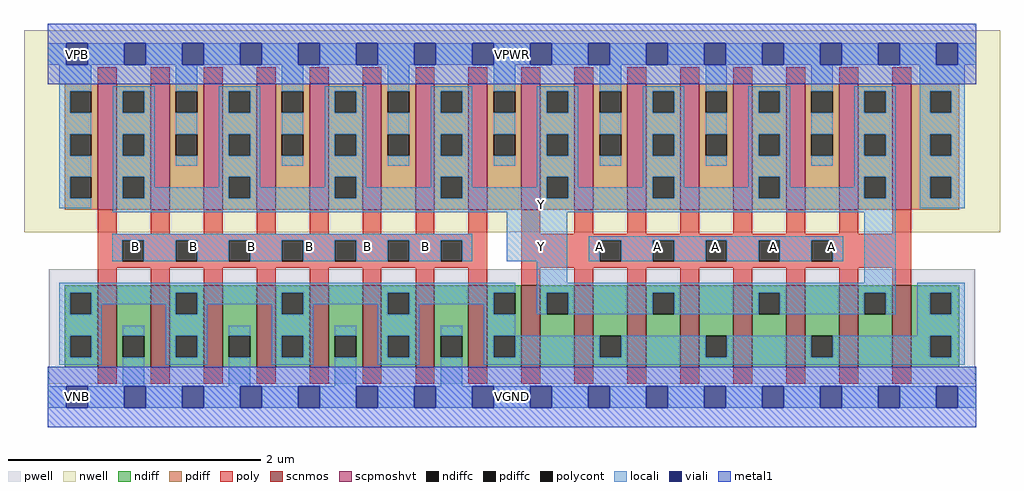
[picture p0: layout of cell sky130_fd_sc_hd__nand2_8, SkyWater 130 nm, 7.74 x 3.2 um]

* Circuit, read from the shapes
.subckt sky130_fd_sc_hd__nand2_8 A B VGND VNB VPB VPWR Y
XM1 VGND B n1 VNB sky130_fd_pr__nfet_01v8 w=0.65 l=0.15 m=8
XM2 Y A n1 VNB sky130_fd_pr__nfet_01v8 w=0.65 l=0.15 m=8
XM3 Y B VPWR VPB sky130_fd_pr__pfet_01v8_hvt w=1 l=0.15 m=8
XM4 Y A VPWR VPB sky130_fd_pr__pfet_01v8_hvt w=1 l=0.15 m=8
.ends

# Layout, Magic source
magic
tech sky130A
magscale 1 2
<< nwell >>
rect -38 261 1510 582
<< pwell >>
rect 1 21 1471 203
rect 30 -17 64 21
<< scnmos >>
rect 79 47 109 177
rect 163 47 193 177
rect 247 47 277 177
rect 331 47 361 177
rect 415 47 445 177
rect 499 47 529 177
rect 583 47 613 177
rect 667 47 697 177
rect 751 47 781 177
rect 835 47 865 177
rect 919 47 949 177
rect 1003 47 1033 177
rect 1087 47 1117 177
rect 1171 47 1201 177
rect 1255 47 1285 177
rect 1339 47 1369 177
<< scpmoshvt >>
rect 79 297 109 497
rect 163 297 193 497
rect 247 297 277 497
rect 331 297 361 497
rect 415 297 445 497
rect 499 297 529 497
rect 583 297 613 497
rect 667 297 697 497
rect 751 297 781 497
rect 835 297 865 497
rect 919 297 949 497
rect 1003 297 1033 497
rect 1087 297 1117 497
rect 1171 297 1201 497
rect 1255 297 1285 497
rect 1339 297 1369 497
<< ndiff >>
rect 27 165 79 177
rect 27 131 35 165
rect 69 131 79 165
rect 27 97 79 131
rect 27 63 35 97
rect 69 63 79 97
rect 27 47 79 63
rect 109 97 163 177
rect 109 63 119 97
rect 153 63 163 97
rect 109 47 163 63
rect 193 165 247 177
rect 193 131 203 165
rect 237 131 247 165
rect 193 97 247 131
rect 193 63 203 97
rect 237 63 247 97
rect 193 47 247 63
rect 277 97 331 177
rect 277 63 287 97
rect 321 63 331 97
rect 277 47 331 63
rect 361 165 415 177
rect 361 131 371 165
rect 405 131 415 165
rect 361 97 415 131
rect 361 63 371 97
rect 405 63 415 97
rect 361 47 415 63
rect 445 97 499 177
rect 445 63 455 97
rect 489 63 499 97
rect 445 47 499 63
rect 529 165 583 177
rect 529 131 539 165
rect 573 131 583 165
rect 529 97 583 131
rect 529 63 539 97
rect 573 63 583 97
rect 529 47 583 63
rect 613 97 667 177
rect 613 63 623 97
rect 657 63 667 97
rect 613 47 667 63
rect 697 165 751 177
rect 697 131 707 165
rect 741 131 751 165
rect 697 97 751 131
rect 697 63 707 97
rect 741 63 751 97
rect 697 47 751 63
rect 781 165 835 177
rect 781 131 791 165
rect 825 131 835 165
rect 781 47 835 131
rect 865 97 919 177
rect 865 63 875 97
rect 909 63 919 97
rect 865 47 919 63
rect 949 165 1003 177
rect 949 131 959 165
rect 993 131 1003 165
rect 949 47 1003 131
rect 1033 97 1087 177
rect 1033 63 1043 97
rect 1077 63 1087 97
rect 1033 47 1087 63
rect 1117 165 1171 177
rect 1117 131 1127 165
rect 1161 131 1171 165
rect 1117 47 1171 131
rect 1201 97 1255 177
rect 1201 63 1211 97
rect 1245 63 1255 97
rect 1201 47 1255 63
rect 1285 165 1339 177
rect 1285 131 1295 165
rect 1329 131 1339 165
rect 1285 47 1339 131
rect 1369 165 1445 177
rect 1369 131 1399 165
rect 1433 131 1445 165
rect 1369 97 1445 131
rect 1369 63 1399 97
rect 1433 63 1445 97
rect 1369 47 1445 63
<< pdiff >>
rect 27 485 79 497
rect 27 451 35 485
rect 69 451 79 485
rect 27 417 79 451
rect 27 383 35 417
rect 69 383 79 417
rect 27 349 79 383
rect 27 315 35 349
rect 69 315 79 349
rect 27 297 79 315
rect 109 485 163 497
rect 109 451 119 485
rect 153 451 163 485
rect 109 417 163 451
rect 109 383 119 417
rect 153 383 163 417
rect 109 349 163 383
rect 109 315 119 349
rect 153 315 163 349
rect 109 297 163 315
rect 193 485 247 497
rect 193 451 203 485
rect 237 451 247 485
rect 193 417 247 451
rect 193 383 203 417
rect 237 383 247 417
rect 193 297 247 383
rect 277 485 331 497
rect 277 451 287 485
rect 321 451 331 485
rect 277 417 331 451
rect 277 383 287 417
rect 321 383 331 417
rect 277 349 331 383
rect 277 315 287 349
rect 321 315 331 349
rect 277 297 331 315
rect 361 485 415 497
rect 361 451 371 485
rect 405 451 415 485
rect 361 417 415 451
rect 361 383 371 417
rect 405 383 415 417
rect 361 297 415 383
rect 445 485 499 497
rect 445 451 455 485
rect 489 451 499 485
rect 445 417 499 451
rect 445 383 455 417
rect 489 383 499 417
rect 445 349 499 383
rect 445 315 455 349
rect 489 315 499 349
rect 445 297 499 315
rect 529 485 583 497
rect 529 451 539 485
rect 573 451 583 485
rect 529 417 583 451
rect 529 383 539 417
rect 573 383 583 417
rect 529 297 583 383
rect 613 485 667 497
rect 613 451 623 485
rect 657 451 667 485
rect 613 417 667 451
rect 613 383 623 417
rect 657 383 667 417
rect 613 349 667 383
rect 613 315 623 349
rect 657 315 667 349
rect 613 297 667 315
rect 697 485 751 497
rect 697 451 707 485
rect 741 451 751 485
rect 697 417 751 451
rect 697 383 707 417
rect 741 383 751 417
rect 697 297 751 383
rect 781 485 835 497
rect 781 451 791 485
rect 825 451 835 485
rect 781 417 835 451
rect 781 383 791 417
rect 825 383 835 417
rect 781 349 835 383
rect 781 315 791 349
rect 825 315 835 349
rect 781 297 835 315
rect 865 485 919 497
rect 865 451 875 485
rect 909 451 919 485
rect 865 417 919 451
rect 865 383 875 417
rect 909 383 919 417
rect 865 297 919 383
rect 949 485 1003 497
rect 949 451 959 485
rect 993 451 1003 485
rect 949 417 1003 451
rect 949 383 959 417
rect 993 383 1003 417
rect 949 349 1003 383
rect 949 315 959 349
rect 993 315 1003 349
rect 949 297 1003 315
rect 1033 485 1087 497
rect 1033 451 1043 485
rect 1077 451 1087 485
rect 1033 417 1087 451
rect 1033 383 1043 417
rect 1077 383 1087 417
rect 1033 297 1087 383
rect 1117 485 1171 497
rect 1117 451 1127 485
rect 1161 451 1171 485
rect 1117 417 1171 451
rect 1117 383 1127 417
rect 1161 383 1171 417
rect 1117 349 1171 383
rect 1117 315 1127 349
rect 1161 315 1171 349
rect 1117 297 1171 315
rect 1201 485 1255 497
rect 1201 451 1211 485
rect 1245 451 1255 485
rect 1201 417 1255 451
rect 1201 383 1211 417
rect 1245 383 1255 417
rect 1201 297 1255 383
rect 1285 485 1339 497
rect 1285 451 1295 485
rect 1329 451 1339 485
rect 1285 417 1339 451
rect 1285 383 1295 417
rect 1329 383 1339 417
rect 1285 349 1339 383
rect 1285 315 1295 349
rect 1329 315 1339 349
rect 1285 297 1339 315
rect 1369 485 1445 497
rect 1369 451 1399 485
rect 1433 451 1445 485
rect 1369 417 1445 451
rect 1369 383 1399 417
rect 1433 383 1445 417
rect 1369 349 1445 383
rect 1369 315 1399 349
rect 1433 315 1445 349
rect 1369 297 1445 315
<< ndiffc >>
rect 35 131 69 165
rect 35 63 69 97
rect 119 63 153 97
rect 203 131 237 165
rect 203 63 237 97
rect 287 63 321 97
rect 371 131 405 165
rect 371 63 405 97
rect 455 63 489 97
rect 539 131 573 165
rect 539 63 573 97
rect 623 63 657 97
rect 707 131 741 165
rect 707 63 741 97
rect 791 131 825 165
rect 875 63 909 97
rect 959 131 993 165
rect 1043 63 1077 97
rect 1127 131 1161 165
rect 1211 63 1245 97
rect 1295 131 1329 165
rect 1399 131 1433 165
rect 1399 63 1433 97
<< pdiffc >>
rect 35 451 69 485
rect 35 383 69 417
rect 35 315 69 349
rect 119 451 153 485
rect 119 383 153 417
rect 119 315 153 349
rect 203 451 237 485
rect 203 383 237 417
rect 287 451 321 485
rect 287 383 321 417
rect 287 315 321 349
rect 371 451 405 485
rect 371 383 405 417
rect 455 451 489 485
rect 455 383 489 417
rect 455 315 489 349
rect 539 451 573 485
rect 539 383 573 417
rect 623 451 657 485
rect 623 383 657 417
rect 623 315 657 349
rect 707 451 741 485
rect 707 383 741 417
rect 791 451 825 485
rect 791 383 825 417
rect 791 315 825 349
rect 875 451 909 485
rect 875 383 909 417
rect 959 451 993 485
rect 959 383 993 417
rect 959 315 993 349
rect 1043 451 1077 485
rect 1043 383 1077 417
rect 1127 451 1161 485
rect 1127 383 1161 417
rect 1127 315 1161 349
rect 1211 451 1245 485
rect 1211 383 1245 417
rect 1295 451 1329 485
rect 1295 383 1329 417
rect 1295 315 1329 349
rect 1399 451 1433 485
rect 1399 383 1433 417
rect 1399 315 1433 349
<< poly >>
rect 79 497 109 523
rect 163 497 193 523
rect 247 497 277 523
rect 331 497 361 523
rect 415 497 445 523
rect 499 497 529 523
rect 583 497 613 523
rect 667 497 697 523
rect 751 497 781 523
rect 835 497 865 523
rect 919 497 949 523
rect 1003 497 1033 523
rect 1087 497 1117 523
rect 1171 497 1201 523
rect 1255 497 1285 523
rect 1339 497 1369 523
rect 79 259 109 297
rect 163 259 193 297
rect 247 259 277 297
rect 331 259 361 297
rect 415 259 445 297
rect 499 259 529 297
rect 583 259 613 297
rect 667 259 697 297
rect 79 249 697 259
rect 79 215 118 249
rect 152 215 203 249
rect 237 215 287 249
rect 321 215 371 249
rect 405 215 455 249
rect 489 215 539 249
rect 573 215 623 249
rect 657 215 697 249
rect 79 205 697 215
rect 79 177 109 205
rect 163 177 193 205
rect 247 177 277 205
rect 331 177 361 205
rect 415 177 445 205
rect 499 177 529 205
rect 583 177 613 205
rect 667 177 697 205
rect 751 259 781 297
rect 835 259 865 297
rect 919 259 949 297
rect 1003 259 1033 297
rect 1087 259 1117 297
rect 1171 259 1201 297
rect 1255 259 1285 297
rect 1339 259 1369 297
rect 751 249 1369 259
rect 751 215 875 249
rect 909 215 959 249
rect 993 215 1043 249
rect 1077 215 1127 249
rect 1161 215 1211 249
rect 1245 215 1369 249
rect 751 205 1369 215
rect 751 177 781 205
rect 835 177 865 205
rect 919 177 949 205
rect 1003 177 1033 205
rect 1087 177 1117 205
rect 1171 177 1201 205
rect 1255 177 1285 205
rect 1339 177 1369 205
rect 79 21 109 47
rect 163 21 193 47
rect 247 21 277 47
rect 331 21 361 47
rect 415 21 445 47
rect 499 21 529 47
rect 583 21 613 47
rect 667 21 697 47
rect 751 21 781 47
rect 835 21 865 47
rect 919 21 949 47
rect 1003 21 1033 47
rect 1087 21 1117 47
rect 1171 21 1201 47
rect 1255 21 1285 47
rect 1339 21 1369 47
<< polycont >>
rect 118 215 152 249
rect 203 215 237 249
rect 287 215 321 249
rect 371 215 405 249
rect 455 215 489 249
rect 539 215 573 249
rect 623 215 657 249
rect 875 215 909 249
rect 959 215 993 249
rect 1043 215 1077 249
rect 1127 215 1161 249
rect 1211 215 1245 249
<< locali >>
rect 0 527 29 561
rect 63 527 121 561
rect 155 527 213 561
rect 247 527 305 561
rect 339 527 397 561
rect 431 527 489 561
rect 523 527 581 561
rect 615 527 673 561
rect 707 527 765 561
rect 799 527 857 561
rect 891 527 949 561
rect 983 527 1041 561
rect 1075 527 1133 561
rect 1167 527 1225 561
rect 1259 527 1317 561
rect 1351 527 1409 561
rect 1443 527 1472 561
rect 18 485 69 527
rect 18 451 35 485
rect 18 417 69 451
rect 18 383 35 417
rect 18 349 69 383
rect 18 315 35 349
rect 18 299 69 315
rect 103 485 169 493
rect 103 451 119 485
rect 153 451 169 485
rect 103 417 169 451
rect 103 383 119 417
rect 153 383 169 417
rect 103 349 169 383
rect 203 485 237 527
rect 203 417 237 451
rect 203 367 237 383
rect 271 485 337 493
rect 271 451 287 485
rect 321 451 337 485
rect 271 417 337 451
rect 271 383 287 417
rect 321 383 337 417
rect 103 315 119 349
rect 153 333 169 349
rect 271 349 337 383
rect 371 485 405 527
rect 371 417 405 451
rect 371 367 405 383
rect 439 485 505 493
rect 439 451 455 485
rect 489 451 505 485
rect 439 417 505 451
rect 439 383 455 417
rect 489 383 505 417
rect 271 333 287 349
rect 153 315 287 333
rect 321 333 337 349
rect 439 349 505 383
rect 539 485 573 527
rect 539 417 573 451
rect 539 367 573 383
rect 607 485 673 493
rect 607 451 623 485
rect 657 451 673 485
rect 607 417 673 451
rect 607 383 623 417
rect 657 383 673 417
rect 439 333 455 349
rect 321 315 455 333
rect 489 333 505 349
rect 607 349 673 383
rect 707 485 741 527
rect 707 417 741 451
rect 707 367 741 383
rect 775 485 841 493
rect 775 451 791 485
rect 825 451 841 485
rect 775 417 841 451
rect 775 383 791 417
rect 825 383 841 417
rect 607 333 623 349
rect 489 315 623 333
rect 657 333 673 349
rect 775 349 841 383
rect 875 485 909 527
rect 875 417 909 451
rect 875 367 909 383
rect 943 485 1009 493
rect 943 451 959 485
rect 993 451 1009 485
rect 943 417 1009 451
rect 943 383 959 417
rect 993 383 1009 417
rect 775 333 791 349
rect 657 315 791 333
rect 825 333 841 349
rect 943 349 1009 383
rect 1043 485 1077 527
rect 1043 417 1077 451
rect 1043 367 1077 383
rect 1111 485 1177 493
rect 1111 451 1127 485
rect 1161 451 1177 485
rect 1111 417 1177 451
rect 1111 383 1127 417
rect 1161 383 1177 417
rect 943 333 959 349
rect 825 315 959 333
rect 993 333 1009 349
rect 1111 349 1177 383
rect 1211 485 1245 527
rect 1211 417 1245 451
rect 1211 367 1245 383
rect 1279 485 1345 493
rect 1279 451 1295 485
rect 1329 451 1345 485
rect 1279 417 1345 451
rect 1279 383 1295 417
rect 1329 383 1345 417
rect 1111 333 1127 349
rect 993 315 1127 333
rect 1161 333 1177 349
rect 1279 349 1345 383
rect 1279 333 1295 349
rect 1161 315 1295 333
rect 1329 315 1345 349
rect 103 293 1345 315
rect 1383 485 1454 527
rect 1383 451 1399 485
rect 1433 451 1454 485
rect 1383 417 1454 451
rect 1383 383 1399 417
rect 1433 383 1454 417
rect 1383 349 1454 383
rect 1383 315 1399 349
rect 1433 315 1454 349
rect 1383 299 1454 315
rect 102 249 673 259
rect 102 215 118 249
rect 152 215 203 249
rect 237 215 287 249
rect 321 215 371 249
rect 405 215 455 249
rect 489 215 539 249
rect 573 215 623 249
rect 657 215 673 249
rect 728 215 824 293
rect 858 249 1261 255
rect 858 215 875 249
rect 909 215 959 249
rect 993 215 1043 249
rect 1077 215 1127 249
rect 1161 215 1211 249
rect 1245 215 1261 249
rect 775 181 824 215
rect 1295 181 1345 293
rect 18 165 741 181
rect 18 131 35 165
rect 69 147 203 165
rect 69 131 85 147
rect 18 97 85 131
rect 187 131 203 147
rect 237 147 371 165
rect 237 131 253 147
rect 18 63 35 97
rect 69 63 85 97
rect 18 51 85 63
rect 119 97 153 113
rect 119 17 153 63
rect 187 97 253 131
rect 355 131 371 147
rect 405 147 539 165
rect 405 131 421 147
rect 187 63 203 97
rect 237 63 253 97
rect 187 51 253 63
rect 287 97 321 113
rect 287 17 321 63
rect 355 97 421 131
rect 523 131 539 147
rect 573 147 707 165
rect 573 131 589 147
rect 355 63 371 97
rect 405 63 421 97
rect 355 51 421 63
rect 455 97 489 113
rect 455 17 489 63
rect 523 97 589 131
rect 691 131 707 147
rect 775 165 1345 181
rect 775 131 791 165
rect 825 131 959 165
rect 993 131 1127 165
rect 1161 131 1295 165
rect 1329 131 1345 165
rect 1379 165 1454 181
rect 1379 131 1399 165
rect 1433 131 1454 165
rect 523 63 539 97
rect 573 63 589 97
rect 523 51 589 63
rect 623 97 657 113
rect 623 17 657 63
rect 691 97 741 131
rect 1379 97 1454 131
rect 691 63 707 97
rect 741 63 875 97
rect 909 63 1043 97
rect 1077 63 1211 97
rect 1245 63 1399 97
rect 1433 63 1454 97
rect 691 51 1454 63
rect 0 -17 29 17
rect 63 -17 121 17
rect 155 -17 213 17
rect 247 -17 305 17
rect 339 -17 397 17
rect 431 -17 489 17
rect 523 -17 581 17
rect 615 -17 673 17
rect 707 -17 765 17
rect 799 -17 857 17
rect 891 -17 949 17
rect 983 -17 1041 17
rect 1075 -17 1133 17
rect 1167 -17 1225 17
rect 1259 -17 1317 17
rect 1351 -17 1409 17
rect 1443 -17 1472 17
<< viali >>
rect 29 527 63 561
rect 121 527 155 561
rect 213 527 247 561
rect 305 527 339 561
rect 397 527 431 561
rect 489 527 523 561
rect 581 527 615 561
rect 673 527 707 561
rect 765 527 799 561
rect 857 527 891 561
rect 949 527 983 561
rect 1041 527 1075 561
rect 1133 527 1167 561
rect 1225 527 1259 561
rect 1317 527 1351 561
rect 1409 527 1443 561
rect 29 -17 63 17
rect 121 -17 155 17
rect 213 -17 247 17
rect 305 -17 339 17
rect 397 -17 431 17
rect 489 -17 523 17
rect 581 -17 615 17
rect 673 -17 707 17
rect 765 -17 799 17
rect 857 -17 891 17
rect 949 -17 983 17
rect 1041 -17 1075 17
rect 1133 -17 1167 17
rect 1225 -17 1259 17
rect 1317 -17 1351 17
rect 1409 -17 1443 17
<< metal1 >>
rect 0 561 1472 592
rect 0 527 29 561
rect 63 527 121 561
rect 155 527 213 561
rect 247 527 305 561
rect 339 527 397 561
rect 431 527 489 561
rect 523 527 581 561
rect 615 527 673 561
rect 707 527 765 561
rect 799 527 857 561
rect 891 527 949 561
rect 983 527 1041 561
rect 1075 527 1133 561
rect 1167 527 1225 561
rect 1259 527 1317 561
rect 1351 527 1409 561
rect 1443 527 1472 561
rect 0 496 1472 527
rect 0 17 1472 48
rect 0 -17 29 17
rect 63 -17 121 17
rect 155 -17 213 17
rect 247 -17 305 17
rect 339 -17 397 17
rect 431 -17 489 17
rect 523 -17 581 17
rect 615 -17 673 17
rect 707 -17 765 17
rect 799 -17 857 17
rect 891 -17 949 17
rect 983 -17 1041 17
rect 1075 -17 1133 17
rect 1167 -17 1225 17
rect 1259 -17 1317 17
rect 1351 -17 1409 17
rect 1443 -17 1472 17
rect 0 -48 1472 -17
<< labels >>
flabel locali s 1042 221 1076 255 0 FreeSans 250 0 0 0 A
port 1 nsew signal input
flabel locali s 950 221 984 255 0 FreeSans 250 0 0 0 A
port 1 nsew signal input
flabel locali s 858 221 892 255 0 FreeSans 250 0 0 0 A
port 1 nsew signal input
flabel locali s 582 221 616 255 0 FreeSans 250 0 0 0 B
port 2 nsew signal input
flabel locali s 214 221 248 255 0 FreeSans 250 0 0 0 B
port 2 nsew signal input
flabel locali s 122 221 156 255 0 FreeSans 250 0 0 0 B
port 2 nsew signal input
flabel locali s 766 289 800 323 0 FreeSans 250 0 0 0 Y
port 7 nsew signal output
flabel locali s 766 221 800 255 0 FreeSans 250 0 0 0 Y
port 7 nsew signal output
flabel locali s 1226 221 1260 255 0 FreeSans 250 0 0 0 A
port 1 nsew signal input
flabel locali s 1134 221 1168 255 0 FreeSans 250 0 0 0 A
port 1 nsew signal input
flabel locali s 490 221 524 255 0 FreeSans 250 0 0 0 B
port 2 nsew signal input
flabel locali s 398 221 432 255 0 FreeSans 250 0 0 0 B
port 2 nsew signal input
flabel locali s 306 221 340 255 0 FreeSans 250 0 0 0 B
port 2 nsew signal input
flabel pwell s 30 -17 64 17 0 FreeSans 200 0 0 0 VNB
port 4 nsew ground bidirectional
flabel nwell s 30 527 64 561 0 FreeSans 200 0 0 0 VPB
port 5 nsew power bidirectional
flabel metal1 s 30 -17 64 17 0 FreeSans 200 0 0 0 VGND
port 3 nsew ground bidirectional abutment
flabel metal1 s 30 527 64 561 0 FreeSans 200 0 0 0 VPWR
port 6 nsew power bidirectional abutment
rlabel comment s 0 0 0 0 4 nand2_8
rlabel metal1 s 0 -48 1472 48 1 VGND
port 3 nsew ground bidirectional abutment
rlabel metal1 s 0 496 1472 592 1 VPWR
port 6 nsew power bidirectional abutment
<< properties >>
string FIXED_BBOX 0 0 1472 544
string GDS_END 1737472
string GDS_FILE $PDKPATH/libs.ref/sky130_fd_sc_hd/gds/sky130_fd_sc_hd.gds
string GDS_START 1725180
string LEFclass CORE
string LEFsite unithd
string LEFsymmetry X Y R90
string path 0.000 0.000 36.800 0.000 
<< end >>
